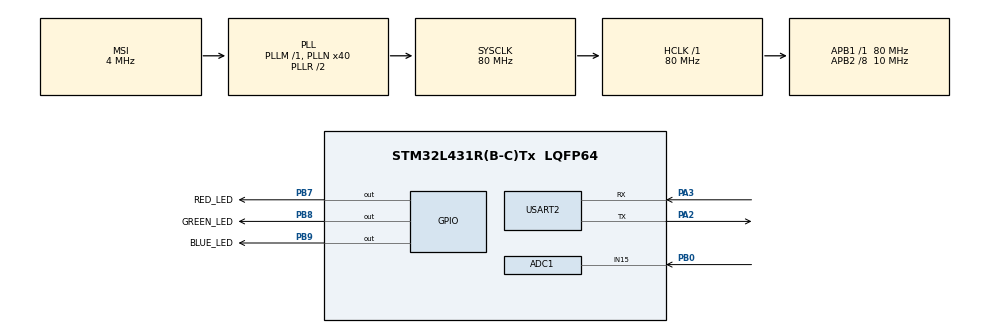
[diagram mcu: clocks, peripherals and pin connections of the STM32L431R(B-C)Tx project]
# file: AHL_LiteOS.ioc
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ADC1.Channel-0\#ChannelRegularConversion=ADC_CHANNEL_15
ADC1.ClockPrescaler=ADC_CLOCK_ASYNC_DIV2
ADC1.ContinuousConvMode=ENABLE
ADC1.DMAContinuousRequests=ENABLE
ADC1.NbrOfConversionFlag=1
ADC1.OffsetNumber-0\#ChannelRegularConversion=ADC_OFFSET_NONE
ADC1.Rank-0\#ChannelRegularConversion=1
ADC1.SamplingTime-0\#ChannelRegularConversion=ADC_SAMPLETIME_640CYCLES_5
ADC1.master=1
Dma.ADC1.0.Direction=DMA_PERIPH_TO_MEMORY
Dma.ADC1.0.Instance=DMA1_Channel1
Dma.ADC1.0.MemDataAlignment=DMA_MDATAALIGN_WORD
Dma.ADC1.0.MemInc=DMA_MINC_ENABLE
Dma.ADC1.0.Mode=DMA_CIRCULAR
Dma.ADC1.0.PeriphDataAlignment=DMA_PDATAALIGN_WORD
Dma.ADC1.0.PeriphInc=DMA_PINC_DISABLE
Dma.ADC1.0.Priority=DMA_PRIORITY_HIGH
Dma.Request0=ADC1
Mcu.Family=STM32L4
Mcu.Name=STM32L431R(B-C)Tx
Mcu.Package=LQFP64
NVIC.ADC1_IRQn=true\:0\:0\:false\:false\:true\:true\:true\:true
NVIC.DMA1_Channel1_IRQn=true\:0\:0\:false\:false\:true\:false\:true\:true
NVIC.PriorityGroup=NVIC_PRIORITYGROUP_4
NVIC.TIM2_IRQn=true\:0\:0\:false\:false\:true\:true\:true\:true
PA13\ (JTMS-SWDIO).Mode=Serial_Wire
PA13\ (JTMS-SWDIO).Signal=SYS_JTMS-SWDIO
PA14\ (JTCK-SWCLK).Mode=Serial_Wire
PA14\ (JTCK-SWCLK).Signal=SYS_JTCK-SWCLK
PA2.Mode=Asynchronous
PA2.Signal=USART2_TX
PA3.Mode=Asynchronous
PA3.Signal=USART2_RX
PB0.Signal=ADCx_IN15
PB7.GPIO_Label=RED_LED
PB7.Signal=GPIO_Output
PB8.GPIO_Label=GREEN_LED
PB8.Signal=GPIO_Output
PB9.GPIO_Label=BLUE_LED
PB9.Signal=GPIO_Output
ProjectManager.HeapSize=0x200
ProjectManager.StackSize=0x400
ProjectManager.TargetToolchain=MDK-ARM V5.32
RCC.ADCFreq_Value=12000000
RCC.AHBFreq_Value=80000000
RCC.APB1Freq_Value=80000000
RCC.APB1TimFreq_Value=80000000
RCC.APB2CLKDivider=RCC_HCLK_DIV8
RCC.APB2Freq_Value=10000000
RCC.APB2TimFreq_Value=20000000
RCC.CortexFreq_Value=80000000
RCC.HCLKFreq_Value=80000000
RCC.HSE_VALUE=8000000
RCC.HSI48_VALUE=48000000
RCC.HSI_VALUE=16000000
RCC.LSE_VALUE=32768
RCC.MSI_VALUE=4000000
RCC.PLLN=40
RCC.PLLSAI1N=18
RCC.PLLSAI1R=RCC_PLLR_DIV6
RCC.SYSCLKFreq_VALUE=80000000
RCC.SYSCLKSource=RCC_SYSCLKSOURCE_PLLCLK
RCC.VCOOutputFreq_Value=160000000
SH.ADCx_IN15.0=ADC1_IN15,IN15-Single-Ended
TIM2.Period=10000-1
TIM2.Prescaler=2000-1
USART2.VirtualMode-Asynchronous=VM_ASYNC
VP_TIM2_VS_ClockSourceINT.Mode=Internal
board=custom

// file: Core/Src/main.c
/* USER CODE BEGIN Header */
/**
  ******************************************************************************
  * @file           : main.c
  * @brief          : Main program body
  ******************************************************************************
  * @attention
  *
  * Copyright (c) 2022 STMicroelectronics.
  * All rights reserved.
  *
  * This software is licensed under terms that can be found in the LICENSE file
  * in the root directory of this software component.
  * If no LICENSE file comes with this software, it is provided AS-IS.
  *
  ******************************************************************************
  */
/* USER CODE END Header */
#include "main.h"
#include "adc.h"
#include "dma.h"
#include "tim.h"
#include "usart.h"
#include "gpio.h"

/* USER CODE BEGIN Includes */
#include "los_base.h"
#include "los_sys.h"
#include "los_typedef.h"
#include "los_task.h"
#include "stdio.h"
/* USER CODE END Includes */

/* USER CODE BEGIN PV */
UINT32 Main_Task_ID;
UINT32 On_Flashing_LED_ID;
UINT32 On_All_LED_ID;
UINT32 On_Get_Tempr_ID;
UINT32 On_Tim2_Task_ID;

uint16_t adcValue = 0;
float voltage = 0;
int isOpenTim2 = 1;
/* USER CODE END PV */

void SystemClock_Config(void);

/* USER CODE BEGIN 0 */

/*****************************************************************************
 Author : 郑人滏
 Function : Create_LOS_Task
 Description : 创建 LOS 任务
 Return      : 当任务创建成功时返回 LOS_OK，创建失败时返回 LOS_NOK
 *****************************************************************************/
UINT32 Create_LOS_Task(void (*Task_Func)(), char *Task_Name, UINT32 *Task_ID) {
	UINT32 uwRet = LOS_OK;

	TSK_INIT_PARAM_S task_init_param;
	task_init_param.pcName = Task_Name;
	task_init_param.pfnTaskEntry = (TSK_ENTRY_FUNC) Task_Func;
	task_init_param.usTaskPrio = 0;
	task_init_param.uwStackSize = 0x200;

	uwRet = LOS_TaskCreate(Task_ID, &task_init_param);
	if (LOS_OK != uwRet)
	{
		printf("[Error: 任务 %s 创建失败！]\n", Task_Name);
		return LOS_NOK;
	}
	printf("[Success: 任务 %s 创建成功！]\n", Task_Name);
	return uwRet;
}

/*****************************************************************************
 Author : 郑人滏
 Function : Delete_LOS_Task
 Description : 删除 LOS 任务
 Return      : 当任务删除成功或失败时提示消息
 *****************************************************************************/
void Delete_LOS_Task(char *Task_Name, UINT32 Task_ID)
{
	UINT32 uwRet = LOS_TaskDelete(Task_ID);
	if (uwRet == LOS_OK)
	{
		printf("[Success: 任务 %s 删除成功！]\n", Task_Name);
	}
	else
	{
		printf("[Error: 任务 %s 删除失败！]\n", Task_Name);
	}
}

/*****************************************************************************
 Author : 郑人滏
 Function : On_Flashing_LED_Task
 Description : 绿灯每隔1.5秒闪烁1次，闪烁20次后，停止闪烁
 *****************************************************************************/
void On_Flashing_LED_Task()
{
	int count = 0;
	while (count < 20)
	{
		HAL_GPIO_WritePin(GREEN_LED_GPIO_Port, GREEN_LED_Pin, GPIO_PIN_RESET);
		LOS_TaskDelay(1500);
		HAL_GPIO_WritePin(GREEN_LED_GPIO_Port, GREEN_LED_Pin, GPIO_PIN_SET);
		LOS_TaskDelay(1500);
		printf("[Tips: 绿灯闪烁中...，第 %d 次]\n", count + 1);
		count++;
	}
	HAL_GPIO_WritePin(GREEN_LED_GPIO_Port, GREEN_LED_Pin, GPIO_PIN_SET);
	Delete_LOS_Task("On_Flashing_LED_Task", On_Flashing_LED_ID);
}

/*****************************************************************************
 Author : 郑人滏
 Function : On_All_LED_Task
 Description : 所有灯全亮
 *****************************************************************************/
void On_All_LED_Task()
{
	HAL_GPIO_WritePin(GREEN_LED_GPIO_Port, GREEN_LED_Pin, GPIO_PIN_RESET);
	HAL_GPIO_WritePin(BLUE_LED_GPIO_Port, BLUE_LED_Pin, GPIO_PIN_RESET);
	HAL_GPIO_WritePin(RED_LED_GPIO_Port, RED_LED_Pin, GPIO_PIN_RESET);
}

/*****************************************************************************
 Author : 郑人滏
 Function : On_Get_Tempr_Task
 Description : 获取热敏电阻值，并打印，蓝灯长亮
 *****************************************************************************/
void On_Get_Tempr_Task()
{
	HAL_GPIO_WritePin(BLUE_LED_GPIO_Port, BLUE_LED_Pin, GPIO_PIN_RESET);
	while (1)
	{
		voltage = adcValue * 3.3 / 4096;
		printf("adcValue: %d, voltage: %f \n", adcValue, voltage);
		LOS_TaskDelay(1000);
	}
}

/*****************************************************************************
 Author : 郑人滏
 Function : On_Tim2_Task
 Description : 定时器开启之后，执行该任务
 *****************************************************************************/
void On_Tim2_Task()
{
	printf("[Tips: Tim2 定时器执行中，红灯闪烁...]\n");
	HAL_GPIO_WritePin(RED_LED_GPIO_Port, RED_LED_Pin, GPIO_PIN_RESET);
	LOS_TaskDelay(1000);
	HAL_GPIO_WritePin(RED_LED_GPIO_Port, RED_LED_Pin, GPIO_PIN_SET);
	LOS_TaskDelay(1000);
	isOpenTim2 = 0;
}

/*****************************************************************************
 Author : 郑人滏
 Function : HAL_TIM_PeriodElapsedCallback
 Description : TIM2 中断函数
 *****************************************************************************/
void HAL_TIM_PeriodElapsedCallback(TIM_HandleTypeDef *htim)
{
	if (isOpenTim2 == 0)
	{
		isOpenTim2 = 1;
		Create_LOS_Task(On_Tim2_Task, "On_Tim2_Task", &On_Tim2_Task_ID);
	}
}

/*****************************************************************************
 Author : 郑人滏
 Function : Main_Task
 Description : 主任务
 *****************************************************************************/
void Main_Task()
{
	// 指令字符
	char command[40];

	while(1)
	{
		printf("[Tips: 请输入控制命令：]\n");
		scanf("%s", command);
		printf("\n");

		if (strcmp(command, "timon") == 0)
		{
			printf("[Summary: 开启定时器 TIM2，通过定时器实现红灯周期闪烁]\n");
			isOpenTim2 = 0;
			HAL_TIM_Base_Start_IT(&htim2);
		}
		else if (strcmp(command, "timoff") == 0)
		{
			printf("[Summary: 关闭定时器 TIM2，红灯熄灭]\n");
			HAL_TIM_Base_Stop_IT(&htim2);
			HAL_GPIO_WritePin(RED_LED_GPIO_Port, RED_LED_Pin, GPIO_PIN_SET);
		}
		else if (strcmp(command, "ledflashingon") == 0)
		{
			printf("[Summary: 绿灯每隔1.5秒闪烁1次，闪烁20次后，停止闪烁]\n");
			Create_LOS_Task(On_Flashing_LED_Task, "On_Flashing_LED_Task", &On_Flashing_LED_ID);
		}
		else if (strcmp(command, "ledflashingoff") == 0)
		{
			printf("[Summary: 绿灯闪烁直接停止]\n");
			Delete_LOS_Task("On_Flashing_LED_Task", On_Flashing_LED_ID);
		}
		else if (strcmp(command, "gettempron") == 0)
		{
			printf("[Summary: 通过热敏电阻获取环境温度，同时蓝灯长亮，串口发送数据]\n");
			Create_LOS_Task(On_Get_Tempr_Task, "On_Get_Tempr_Task", &On_Get_Tempr_ID);
		}
		else if (strcmp(command, "gettemproff") == 0)
		{
			printf("[Summary: 关闭热敏电阻获取环境温度，蓝灯熄灭，串口不发送数据]\n");
			Delete_LOS_Task("On_Get_Tempr_Task", On_Get_Tempr_ID);
			HAL_GPIO_WritePin(BLUE_LED_GPIO_Port, BLUE_LED_Pin, GPIO_PIN_SET);
		}
		else if (strcmp(command, "ledallon") == 0)
		{
			printf("[Summary: 所有灯全亮]\n");
			Create_LOS_Task(On_All_LED_Task, "On_All_LED_Task", &On_All_LED_ID);
		}
		else if (strcmp(command, "ledalloff") == 0)
		{
			printf("[Summary: 所有灯全熄灭]\n");
			HAL_GPIO_WritePin(GREEN_LED_GPIO_Port, GREEN_LED_Pin, GPIO_PIN_SET);
			HAL_GPIO_WritePin(BLUE_LED_GPIO_Port, BLUE_LED_Pin, GPIO_PIN_SET);
			HAL_GPIO_WritePin(RED_LED_GPIO_Port, RED_LED_Pin, GPIO_PIN_SET);
		}
	}
}

/* USER CODE END 0 */

int main(void)
{

  /* MCU Configuration--------------------------------------------------------*/

  /* Reset of all peripherals, Initializes the Flash interface and the Systick. */
  HAL_Init();

  /* Configure the system clock */
  SystemClock_Config();

  /* Initialize all configured peripherals */
  MX_GPIO_Init();
  MX_DMA_Init();
  MX_USART2_UART_Init();
  MX_ADC1_Init();
  MX_TIM2_Init();
  /* USER CODE BEGIN 2 */

	// 熄灭所有 LED 灯
  HAL_GPIO_WritePin(GREEN_LED_GPIO_Port, GREEN_LED_Pin, GPIO_PIN_SET);
	HAL_GPIO_WritePin(BLUE_LED_GPIO_Port, BLUE_LED_Pin, GPIO_PIN_SET);
	HAL_GPIO_WritePin(RED_LED_GPIO_Port, RED_LED_Pin, GPIO_PIN_SET);

	HAL_ADC_Start_DMA(&hadc1, (uint32_t *) &adcValue, 1);

	// Lite OS 内核初始化
	UINT32 uwRet = LOS_KernelInit();
	if (uwRet != LOS_OK)
	  return LOS_NOK;

	// 创建主任务
	Create_LOS_Task(Main_Task, "Main_Task", &Main_Task_ID);

	// 启动 Lite OS
	LOS_Start();
  /* USER CODE END 2 */

  /* Infinite loop */
  while (1)
  {

  }
}

void SystemClock_Config(void)
{
  RCC_OscInitTypeDef RCC_OscInitStruct = {0};
  RCC_ClkInitTypeDef RCC_ClkInitStruct = {0};

  /** Configure the main internal regulator output voltage
  */
  if (HAL_PWREx_ControlVoltageScaling(PWR_REGULATOR_VOLTAGE_SCALE1) != HAL_OK)
  {
    Error_Handler();
  }

  /** Initializes the RCC Oscillators according to the specified parameters
  * in the RCC_OscInitTypeDef structure.
  */
  RCC_OscInitStruct.OscillatorType = RCC_OSCILLATORTYPE_MSI;
  RCC_OscInitStruct.MSIState = RCC_MSI_ON;
  RCC_OscInitStruct.MSICalibrationValue = 0;
  RCC_OscInitStruct.MSIClockRange = RCC_MSIRANGE_6;
  RCC_OscInitStruct.PLL.PLLState = RCC_PLL_ON;
  RCC_OscInitStruct.PLL.PLLSource = RCC_PLLSOURCE_MSI;
  RCC_OscInitStruct.PLL.PLLM = 1;
  RCC_OscInitStruct.PLL.PLLN = 40;
  RCC_OscInitStruct.PLL.PLLP = RCC_PLLP_DIV7;
  RCC_OscInitStruct.PLL.PLLQ = RCC_PLLQ_DIV2;
  RCC_OscInitStruct.PLL.PLLR = RCC_PLLR_DIV2;
  if (HAL_RCC_OscConfig(&RCC_OscInitStruct) != HAL_OK)
  {
    Error_Handler();
  }

  /** Initializes the CPU, AHB and APB buses clocks
  */
  RCC_ClkInitStruct.ClockType = RCC_CLOCKTYPE_HCLK|RCC_CLOCKTYPE_SYSCLK
                              |RCC_CLOCKTYPE_PCLK1|RCC_CLOCKTYPE_PCLK2;
  RCC_ClkInitStruct.SYSCLKSource = RCC_SYSCLKSOURCE_PLLCLK;
  RCC_ClkInitStruct.AHBCLKDivider = RCC_SYSCLK_DIV1;
  RCC_ClkInitStruct.APB1CLKDivider = RCC_HCLK_DIV1;
  RCC_ClkInitStruct.APB2CLKDivider = RCC_HCLK_DIV8;

  if (HAL_RCC_ClockConfig(&RCC_ClkInitStruct, FLASH_LATENCY_4) != HAL_OK)
  {
    Error_Handler();
  }
}

void Error_Handler(void)
{
  __disable_irq();
  while (1)
  {
  }
}
